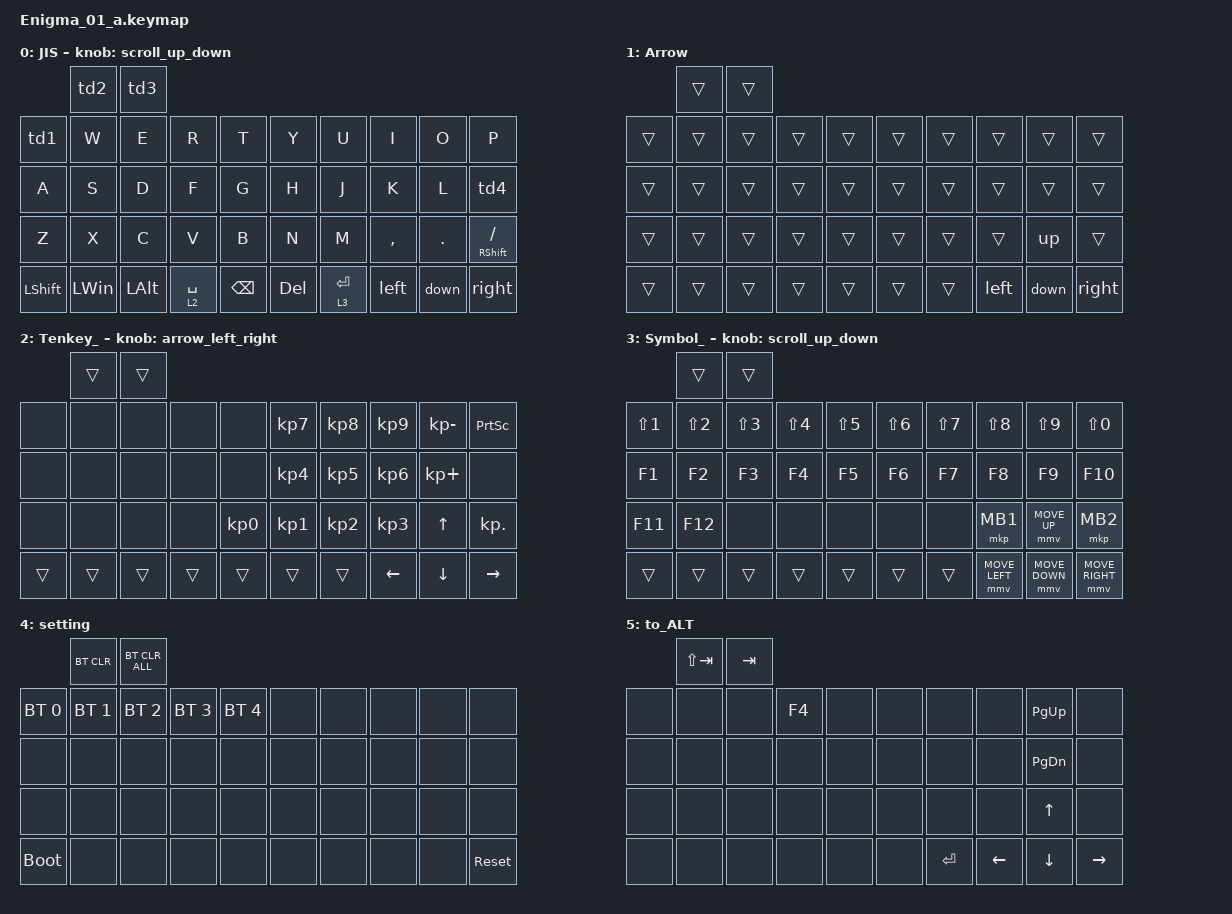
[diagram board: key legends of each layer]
#include <behaviors.dtsi>
#include <dt-bindings/zmk/bt.h>
#include <dt-bindings/zmk/keys.h>
#include <dt-bindings/zmk/pointing.h>

// Rotary Encoder

#undef ZMK_POINTING_DEFAULT_SCRL_VAL
#define ZMK_POINTING_DEFAULT_SCRL_VAL 100

/ {
    // zmk-listeners

    layer_listeners {
        compatible = "zmk,layer-listeners";

        release_alt {
            layers = <5>;
            bindings = <&kt_on LEFT_ALT &kt_off LEFT_ALT>;
        };
    };

    macros {
        // zmk-listeners

        to_kp: to_kp {
            compatible = "zmk,behavior-macro-two-param";
            #binding-cells = <2>;
            bindings = <&macro_param_1to1 &to MACRO_PLACEHOLDER &macro_param_2to1 &kp MACRO_PLACEHOLDER>;
            label = "to_kp";
        };

        // zmk-listeners

        mo_to_0: mo_to_0 {
            compatible = "zmk,behavior-macro-one-param";
            wait-ms = <0>;
            tap-ms = <0>;
            #binding-cells = <1>;
            bindings =
                <&macro_press>,
                <&macro_param_1to1 &mo MACRO_PLACEHOLDER>,
                <&macro_tap>,
                <&macro_pause_for_release>,
                <&macro_release>,
                <&macro_param_1to1 &mo MACRO_PLACEHOLDER>,
                <&macro_tap>,
                <&to 0>;

            label = "MO_to_0";
        };

        left: left {
            compatible = "zmk,behavior-macro";
            #binding-cells = <0>;
            bindings = <&kp LEFT_ARROW &sl 1>;
            label = "SL_LEFT";
        };

        down: down {
            compatible = "zmk,behavior-macro";
            #binding-cells = <0>;
            bindings = <&kp DOWN_ARROW &sl 1>;
            label = "SL_DOWN";
        };

        right: right {
            compatible = "zmk,behavior-macro";
            #binding-cells = <0>;
            bindings = <&kp RIGHT_ARROW &sl 1>;
            label = "SL_RIGHT";
        };

        up: up {
            compatible = "zmk,behavior-macro";
            #binding-cells = <0>;
            bindings = <&kp UP_ARROW &sl 1>;
            label = "SL_UP";
        };
    };

    behaviors {
        // Layout shift

        original_key_press: original_key_press {
            compatible = "zmk,behavior-key-press";
            #binding-cells = <1>;
            label = "KEY_PRESS";
        };

        // Layout shift

        kp: key_press {
            compatible = "zmk,behavior-layout-shift-key-press";
            #binding-cells = <1>;
            label = "LAYOUT_SHIFT_KEY_PRESS";
        };

        // zmk-listeners

        kt_on: key_toggle_on_only {
            compatible = "zmk,behavior-key-toggle";
            #binding-cells = <1>;
            display-name = "Key Toggle On";
            toggle-mode = "on";
        };

        // zmk-listeners

        kt_off: key_toggle_off_only {
            compatible = "zmk,behavior-key-toggle";
            #binding-cells = <1>;
            display-name = "Key Toggle Off";
            toggle-mode = "off";
        };

        // zmk-listeners

        lt_to_0: lt_to_0 {
            compatible = "zmk,behavior-hold-tap";
            label = "LT_to_0";
            bindings = <&mo_to_0>, <&kp>;

            #binding-cells = <2>;
            tapping-term-ms = <200>;
            quick-tap-ms = <200>;
            flavor = "balanced";
        };


        // Rotary Encoder

        scroll_up_down: mouse_wheel_up_down {
            compatible = "zmk,behavior-sensor-rotate";
            #sensor-binding-cells = <0>;
            bindings = <&msc SCRL_UP>, <&msc SCRL_DOWN>;

            tap-ms = <50>;
        };

        // Rotary Encoder

        scroll_left_right: mouse_wheel_left_right {
            compatible = "zmk,behavior-sensor-rotate";
            #sensor-binding-cells = <0>;
            bindings = <&msc SCRL_LEFT>, <&msc SCRL_RIGHT>;

            tap-ms = <50>;
        };

        // Rotary Encoder

        arrow_left_right: arrow_left_right {
            compatible = "zmk,behavior-sensor-rotate";
            #sensor-binding-cells = <0>;
            bindings = <&kp LEFT>, <&kp RIGHT>;

            tap-ms = <50>;
        };

        // Rotary Encoder

        arrow_up_down: arrow_up_down {
            compatible = "zmk,behavior-sensor-rotate";
            #sensor-binding-cells = <0>;
            bindings = <&kp UP>, <&kp DOWN>;

            tap-ms = <50>;
        };

        // Rotary Encoder

        page_up_down: page_up_down {
            compatible = "zmk,behavior-sensor-rotate";
            #sensor-binding-cells = <0>;
            bindings = <&kp PAGE_UP>, <&kp PAGE_DOWN>;

            tap-ms = <50>;
        };

        td1: tab_ctrl_q {
            compatible = "zmk,behavior-tap-dance";
            label = "tab_ctrl_q";
            #binding-cells = <0>;
            bindings = <&mt LCTRL TAB>, <&kp Q>;
        };

        td2: hz_toALT {
            compatible = "zmk,behavior-tap-dance";
            label = "hz_toALT";
            #binding-cells = <0>;
            bindings = <&lt_to_0 5 GRAVE>;
        };

        td3: f7_toALT_f8 {
            compatible = "zmk,behavior-tap-dance";
            label = "f7_toALT_f8";
            #binding-cells = <0>;
            bindings = <&lt_to_0 5 F7>, <&kp F8>;
        };

        td4: coron_semicoron {
            compatible = "zmk,behavior-tap-dance";
            label = "coron_semicoron";
            #binding-cells = <0>;
            bindings = <&kp COLON>, <&kp SEMICOLON>;
        };
    };

    combos {
        compatible = "zmk,combos";

        setting {
            bindings = <&mo 4>;
            key-positions = <36 35>;
        };

        esc {
            bindings = <&kp ESC>;
            key-positions = <0 2>;
        };

        hyphen {
            bindings = <&kp MINUS>;
            key-positions = <10 11>;
            layers = <0 1>;
        };

        copy {
            bindings = <&kp LC(C)>;
            key-positions = <13 14>;
            layers = <0 1 2>;
        };

        paste {
            bindings = <&kp LC(V)>;
            key-positions = <15 14>;
            layers = <0 1 2>;
        };

        cut {
            bindings = <&kp LC(X)>;
            key-positions = <13 15>;
            layers = <0 1 2>;
        };

        select {
            bindings = <&kp LC(A)>;
            key-positions = <12 13>;
            layers = <0 1 2>;
        };

        ro {
            bindings = <&kp INTERNATIONAL_1>;
            key-positions = <31 30>;
            layers = <0 1>;
        };

        atsign {
            bindings = <&kp AT_SIGN>;
            key-positions = <20 21>;
            layers = <0 1>;
        };

        f2 {
            bindings = <&kp F2>;
            key-positions = <0 1>;
            layers = <0 2 1 3>;
        };

        slash {
            bindings = <&kp KP_SLASH>;
            key-positions = <7 8>;
            layers = <2>;
        };

        asterisk {
            bindings = <&kp KP_ASTERISK>;
            key-positions = <8 9>;
            layers = <2>;
        };
    };

    keymap {
        compatible = "zmk,keymap";

        JIS {
            bindings = <
                &td2          &td3
&td1            &kp W         &kp E         &kp R        &kp T          &kp Y    &kp U        &kp I      &kp O     &kp P
&kp A           &kp S         &kp D         &kp F        &kp G          &kp H    &kp J        &kp K      &kp L     &td4
&kp Z           &kp X         &kp C         &kp V        &kp B          &kp N    &kp M        &kp COMMA  &kp DOT   &mt RIGHT_SHIFT SLASH
&kp LEFT_SHIFT  &kp LEFT_WIN  &kp LEFT_ALT  &lt 2 SPACE  &kp BACKSPACE  &kp DEL  &lt 3 ENTER  &left   &down  &right
            >;

            sensor-bindings = <&scroll_up_down>;
        };

        Arrow {
            bindings = <
        &trans  &trans
&trans  &trans  &trans  &trans  &trans  &trans  &trans  &trans    &trans    &trans
&trans  &trans  &trans  &trans  &trans  &trans  &trans  &trans    &trans    &trans
&trans  &trans  &trans  &trans  &trans  &trans  &trans  &trans    &up    &trans
&trans  &trans  &trans  &trans  &trans  &trans  &trans  &left  &down  &right
            >;
        };

        Tenkey_ {
            bindings = <
        &trans  &trans
&none   &none   &none   &none   &none            &kp KP_NUMBER_7  &kp KP_NUMBER_8  &kp KP_NUMBER_9  &kp KP_MINUS    &kp PRINTSCREEN
&none   &none   &none   &none   &none            &kp KP_NUMBER_4  &kp KP_NUMBER_5  &kp KP_NUMBER_6  &kp KP_PLUS     &none
&none   &none   &none   &none   &kp KP_NUMBER_0  &kp KP_NUMBER_1  &kp KP_NUMBER_2  &kp KP_NUMBER_3  &kp UP          &kp KP_DOT
&trans  &trans  &trans  &trans  &trans           &trans           &trans           &kp LEFT         &kp DOWN        &kp RIGHT
            >;

            sensor-bindings = <&arrow_left_right>;
        };

        Symbol_ {
            bindings = <
                  &trans            &trans
&kp LS(NUMBER_1)  &kp LS(NUMBER_2)  &kp LS(NUMBER_3)  &kp LS(NUMBER_4)  &kp LS(NUMBER_5)  &kp LS(NUMBER_6)  &kp LS(NUMBER_7)  &kp LS(NUMBER_8)  &kp LS(NUMBER_9)  &kp LS(NUMBER_0)
&kp F1            &kp F2            &kp F3            &kp F4            &kp F5            &kp F6            &kp F7            &kp F8            &kp F9            &kp F10
&kp F11           &kp F12           &none             &none             &none             &none             &none             &mkp MB1          &mmv MOVE_UP      &mkp MB2
&trans            &trans            &trans            &trans            &trans            &trans            &trans            &mmv MOVE_LEFT    &mmv MOVE_DOWN    &mmv MOVE_RIGHT
            >;

            sensor-bindings = <&scroll_up_down>;
        };

        setting {
            bindings = <
              &bt BT_CLR    &bt BT_CLR_ALL
&bt BT_SEL 0  &bt BT_SEL 1  &bt BT_SEL 2    &bt BT_SEL 3  &bt BT_SEL 4  &none  &none  &none  &none  &none
&none         &none         &none           &none         &none         &none  &none  &none  &none  &none
&none         &none         &none           &none         &none         &none  &none  &none  &none  &none
&bootloader   &none         &none           &none         &none         &none  &none  &none  &none  &sys_reset
            >;
        };

        to_ALT {
            bindings = <
       &kp LS(TAB)  &kp TAB
&none  &none        &none    &kp F4  &none  &none  &none      &none     &kp PAGE_UP    &none
&none  &none        &none    &none   &none  &none  &none      &none     &kp PAGE_DOWN  &none
&none  &none        &none    &none   &none  &none  &none      &none     &kp UP         &none
&none  &none        &none    &none   &none  &none  &kp ENTER  &kp LEFT  &kp DOWN       &kp RIGHT
            >;
        };
    };
};
